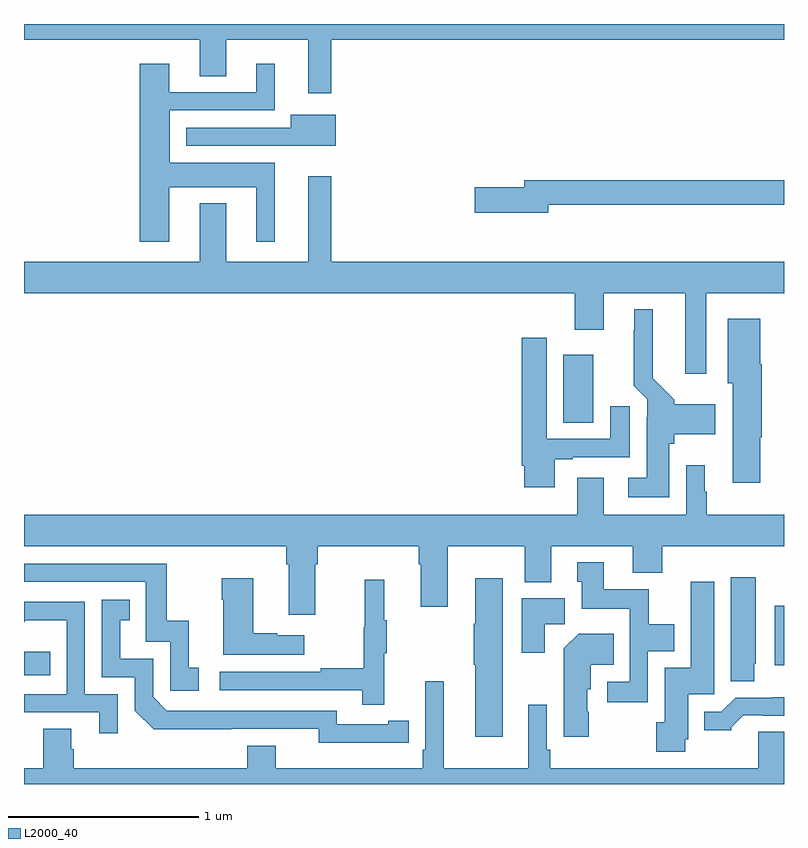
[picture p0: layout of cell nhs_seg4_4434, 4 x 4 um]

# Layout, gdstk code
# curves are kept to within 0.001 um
import gdstk
lib = gdstk.Library(unit=1e-6, precision=1e-09)
def R(c, l, rs):  # rectangles x0, y0, x1, y1
    for r in rs: c.add(gdstk.rectangle(r[:2], r[2:], *l))
def P(c, l, *ps):  # polygons
    for p in ps: c.add(gdstk.Polygon(p, *l))
L2000_40 = (2000, 40)

nhs_seg4_4434 = lib.new_cell('nhs_seg4_4434')
R(nhs_seg4_4434, L2000_40, [(349,797.472,349.139,797.595), (352.952,797.525,353,797.839), (351.839,798.802,351.997,799.159)])
P(nhs_seg4_4434, L2000_40, [(350.617,800.816),(353,800.816),(353,800.9),(349,800.9),(349,800.816),(349.925,800.816),(349.925,800.626),(350.065,800.626),(350.065,800.816),(350.495,800.816),(350.495,800.535),(350.617,800.535)],
  [(349.765,800.042),(350.222,800.042),(350.222,799.755),(350.32,799.755),(350.32,800.17),(349.768,800.17),(349.768,800.445),(350.32,800.445),(350.32,800.692),(350.222,800.692),(350.222,800.541),(349.765,800.541),(349.765,800.692),(349.61,800.692),(349.61,799.755),(349.765,799.755)],
  [(350.641,800.422),(350.405,800.422),(350.405,800.355),(349.853,800.355),(349.853,800.259),(350.409,800.259),(350.409,800.258),(350.641,800.258)],
  [(352.591,799.484),(353,799.484),(353,799.648),(350.617,799.648),(350.617,800.098),(350.495,800.098),(350.495,799.648),(350.065,799.648),(350.065,799.957),(349.925,799.957),(349.925,799.648),(349,799.648),(349,799.484),(351.899,799.484),(351.899,799.29),(352.051,799.29),(352.051,799.484),(352.481,799.484),(352.481,799.059),(352.591,799.059)],
  [(351.76,799.95),(353,799.95),(353,800.078),(351.632,800.078),(351.632,800.042),(351.372,800.042),(351.372,799.907),(351.76,799.907)],
  [(352.396,798.69),(352.422,798.69),(352.422,798.74),(352.639,798.74),(352.639,798.898),(352.422,798.898),(352.422,798.923),(352.309,799.036),(352.309,799.399),(352.211,799.399),(352.211,799.289),(352.208,799.289),(352.208,798.997),(352.281,798.924),(352.281,798.83),(352.277,798.83),(352.277,798.511),(352.179,798.511),(352.179,798.41),(352.396,798.41)],
  [(352.876,798.724),(352.884,798.724),(352.884,799.108),(352.876,799.108),(352.876,799.348),(352.703,799.348),(352.703,799.008),(352.73,799.008),(352.73,798.486),(352.876,798.486)],
  [(351.793,798.609),(351.889,798.609),(351.889,798.621),(352.189,798.621),(352.189,798.889),(352.085,798.889),(352.085,798.717),(351.751,798.717),(351.751,799.249),(351.62,799.249),(351.62,798.574),(351.632,798.574),(351.632,798.462),(351.793,798.462)],
  [(349,798.152),(350.381,798.152),(350.381,798.056),(350.393,798.056),(350.393,797.79),(350.533,797.79),(350.533,798.056),(350.546,798.056),(350.546,798.152),(351.077,798.152),(351.077,798.056),(351.089,798.056),(351.089,797.832),(351.229,797.832),(351.229,798.152),(351.635,798.152),(351.635,797.963),(351.775,797.963),(351.775,798.152),(352.205,798.152),(352.205,798.011),(352.358,798.011),(352.358,798.152),(353,798.152),(353,798.316),(352.594,798.316),(352.594,798.438),(352.582,798.438),(352.582,798.577),(352.485,798.577),(352.485,798.316),(352.051,798.316),(352.051,798.511),(351.911,798.511),(351.911,798.316),(349,798.316)],
  [(352.284,797.6),(352.423,797.6),(352.423,797.74),(352.287,797.74),(352.287,797.926),(352.051,797.926),(352.051,798.067),(351.911,798.067),(351.911,797.964),(351.935,797.964),(351.935,797.822),(352.188,797.822),(352.188,797.439),(352.071,797.439),(352.071,797.331),(352.284,797.331)],
  [(349.921,797.511),(349.868,797.511),(349.868,797.758),(349.75,797.758),(349.75,798.06),(349,798.06),(349,797.964),(349.641,797.964),(349.641,797.649),(349.77,797.649),(349.77,797.391),(349.921,797.391)],
  [(352.843,797.532),(352.852,797.532),(352.852,797.989),(352.721,797.989),(352.721,797.44),(352.843,797.44)],
  [(351.52,797.983),(351.374,797.983),(351.374,797.744),(351.367,797.744),(351.367,797.527),(351.374,797.527),(351.374,797.148),(351.52,797.148)],
  [(350.476,797.683),(350.333,797.683),(350.333,797.693),(350.206,797.693),(350.206,797.983),(350.041,797.983),(350.041,797.87),(350.048,797.87),(350.048,797.579),(350.476,797.579)],
  [(350.897,797.587),(350.908,797.587),(350.908,797.761),(350.897,797.761),(350.897,797.974),(350.794,797.974),(350.794,797.724),(350.787,797.724),(350.787,797.51),(350.563,797.51),(350.563,797.49),(350.031,797.49),(350.031,797.394),(350.779,797.394),(350.779,797.316),(350.897,797.316)],
  [(352.479,797.136),(352.495,797.136),(352.495,797.373),(352.633,797.373),(352.633,797.965),(352.508,797.965),(352.508,797.512),(352.373,797.512),(352.373,797.226),(352.327,797.226),(352.327,797.07),(352.479,797.07)],
  [(351.742,797.74),(351.847,797.74),(351.847,797.878),(351.62,797.878),(351.62,797.592),(351.742,797.592)],
  [(350.918,797.118),(351.026,797.118),(351.026,797.234),(350.918,797.234),(350.918,797.214),(350.646,797.214),(350.646,797.286),(349.752,797.286),(349.68,797.358),(349.68,797.559),(349.507,797.559),(349.507,797.763),(349.556,797.763),(349.556,797.869),(349.41,797.869),(349.41,797.463),(349.584,797.463),(349.584,797.286),(349.682,797.189),(350.55,797.19),(350.55,797.117)],
  [(349.494,797.373),(349.32,797.373),(349.32,797.859),(349,797.859),(349,797.752),(349.01,797.762),(349.224,797.762),(349.224,797.373),(349,797.373),(349,797.277),(349.397,797.277),(349.397,797.166),(349.494,797.166)],
  [(351.972,797.28),(351.964,797.28),(351.964,797.4),(351.982,797.4),(351.982,797.528),(352.103,797.528),(352.103,797.692),(351.92,797.692),(351.842,797.614),(351.842,797.148),(351.972,797.148)],
  [(353,797.174),(352.865,797.174),(352.865,796.984),(351.77,796.984),(351.77,797.08),(351.75,797.08),(351.75,797.317),(351.653,797.317),(351.653,796.984),(351.208,796.984),(351.208,797.44),(351.111,797.44),(351.111,797.08),(351.098,797.08),(351.098,796.984),(350.326,796.984),(350.326,797.101),(350.174,797.101),(350.174,796.984),(349.262,796.984),(349.262,797.082),(349.249,797.082),(349.249,797.192),(349.102,797.192),(349.102,796.984),(349,796.984),(349,796.9),(353,796.9)],
  [(352.722,797.198),(352.786,797.262),(352.885,797.262),(352.885,797.259),(353,797.259),(353,797.356),(352.746,797.355),(352.671,797.28),(352.58,797.28),(352.58,797.183),(352.722,797.183)])

lib.write_gds('nhs_seg4_4434.gds')
